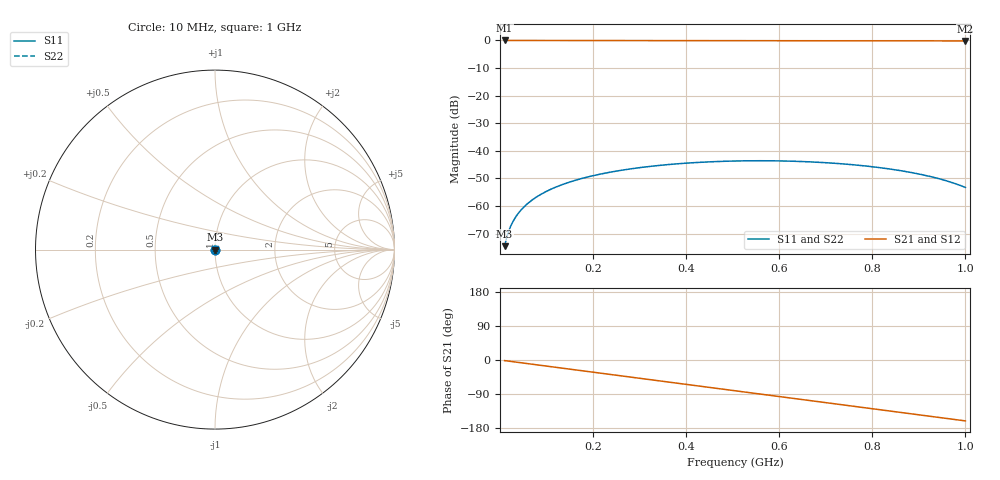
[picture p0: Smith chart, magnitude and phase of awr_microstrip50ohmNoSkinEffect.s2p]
! AWR Design Environment (17415) Thu Nov  7 11:34:44 2024
! Document = 'Microstrip50ohmNoSkinEffect'
! nPorts: 2, nXvals: 201
# MHz S DB R 50
!Freq DBS11 AngS11 DBS21 AngS21 DBS12 AngS12 DBS22 AngS22
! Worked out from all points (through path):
!   201 points, 10 MHz to 1 GHz, reference 50 ohm
!   highest |S21| = 0.00 dB at 10 MHz (marker M1); lowest = -0.2 dB at 1 GHz (marker M2)
!   group delay of S21, straight-line fit = 446 ps
!   lowest |S11| = -74.5 dB at 10 MHz (marker M3), VSWR 1.00, Z = 50 + j0.000526 ohm
!   |S11| at or under -10 dB: start of sweep to end of sweep
!   |S22| runs from -74.5 to -43.6 dB; largest |S21 - S12| = 0
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10  -74.53 178.4  -0.00 -1.6  -0.00 -1.6  -74.53 178.4
14.95  -71.04 177.6  -0.00 -2.4  -0.00 -2.4  -71.04 177.6
19.9  -68.56 176.8  -0.00 -3.2  -0.00 -3.2  -68.56 176.8
29.8  -65.06 175.2  -0.00 -4.8  -0.00 -4.8  -65.06 175.2
44.65  -61.56 172.8  -0.01 -7.2  -0.01 -7.2  -61.56 172.8
59.5  -59.09 170.4  -0.01 -9.6  -0.01 -9.6  -59.09 170.4
84.25  -56.11 166.5  -0.01 -13.5  -0.01 -13.5  -56.11 166.5
109  -53.93 162.5  -0.02 -17.5  -0.02 -17.5  -53.93 162.5
138.7  -51.93 157.7  -0.02 -22.3  -0.02 -22.3  -51.93 157.7
178.3  -49.90 151.4  -0.03 -28.7  -0.03 -28.7  -49.90 151.4
252.55  -47.26 139.5  -0.04 -40.6  -0.04 -40.6  -47.26 139.5
341.65  -45.28 125.2  -0.06 -54.9  -0.06 -54.9  -45.28 125.2
425.8  -44.18 111.8  -0.07 -68.4  -0.07 -68.4  -44.18 111.8
505  -43.67 99.1  -0.08 -81.2  -0.08 -81.2  -43.67 99.1
589.15  -43.61 85.7  -0.10 -94.7  -0.10 -94.7  -43.61 85.7
673.3  -44.04 72.4  -0.11 -108.2  -0.11 -108.2  -44.04 72.4
752.5  -44.94 59.9  -0.12 -120.9  -0.12 -120.9  -44.94 59.9
836.65  -46.55 46.8  -0.14 -134.5  -0.14 -134.5  -46.55 46.8
886.15  -47.92 39.2  -0.14 -142.4  -0.14 -142.4  -47.92 39.2
930.7  -49.54 32.5  -0.15 -149.6  -0.15 -149.6  -49.54 32.5
965.35  -51.16 27.5  -0.16 -155.1  -0.16 -155.1  -51.16 27.5
1000  -53.26 22.7  -0.16 -160.7  -0.16 -160.7  -53.26 22.7
